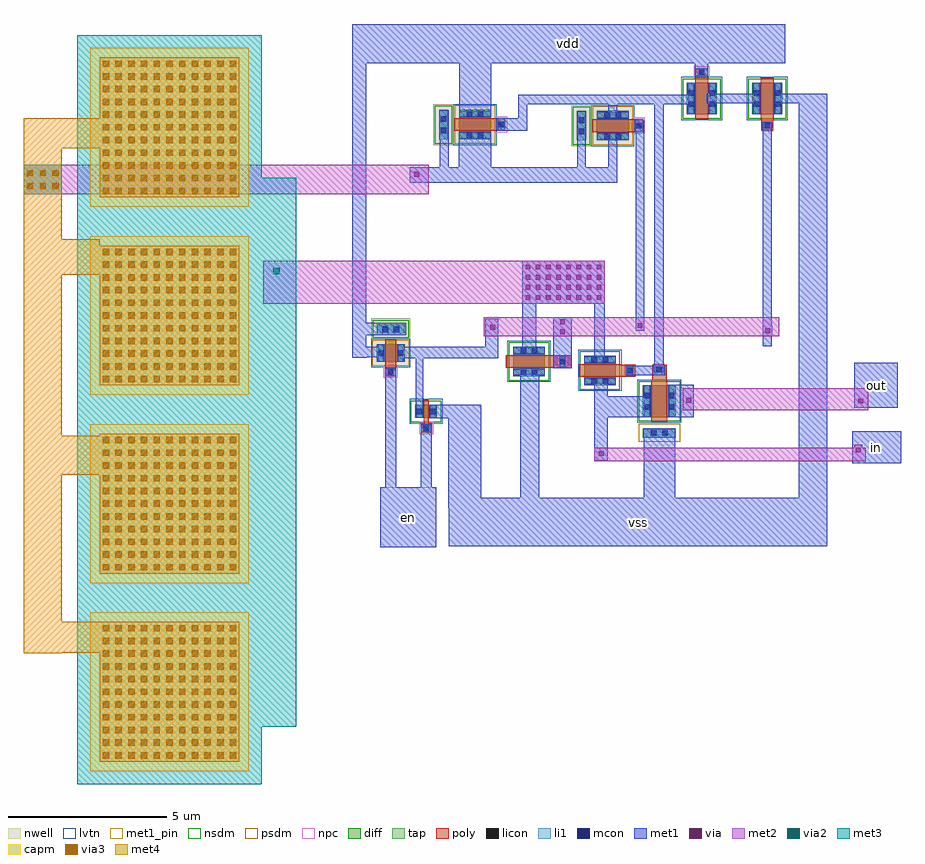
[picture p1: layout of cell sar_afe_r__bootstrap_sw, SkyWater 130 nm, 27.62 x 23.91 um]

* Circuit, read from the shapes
.subckt sar_afe_r__bootstrap_sw en in out vdd vss
XM1 vss en sar_afe_r__nfet_01v8_lvt_CDNS_792464069087_2/D_drain_1 vss sky130_fd_pr__nfet_01v8_lvt w=0.42 l=0.15
XM2 sar_afe_r__nfet_01v8_lvt_CDNS_792464069089_5/D_drain_1 sar_afe_r__nfet_01v8_lvt_CDNS_792464069087_2/D_drain_1 vss vss sky130_fd_pr__nfet_01v8_lvt w=1 l=0.4
XM3 sar_afe_r__nfet_01v8_lvt_CDNS_792464069089_5/D_drain_1 sar_afe_r__pfet_01v8_lvt_CDNS_792464069086_0/D_drain_1 in vss sky130_fd_pr__nfet_01v8_lvt w=1 l=0.4
XM4 out sar_afe_r__pfet_01v8_lvt_CDNS_792464069086_0/D_drain_1 in vss sky130_fd_pr__nfet_01v8_lvt w=1 l=0.5
XM5 sar_afe_r__nfet_01v8_lvt_CDNS_792464069088_3/D_drain_1 vdd sar_afe_r__pfet_01v8_lvt_CDNS_792464069086_0/D_drain_1 vss sky130_fd_pr__nfet_01v8_lvt w=1 l=0.4
XM6 vss sar_afe_r__nfet_01v8_lvt_CDNS_792464069087_2/D_drain_1 sar_afe_r__nfet_01v8_lvt_CDNS_792464069088_3/D_drain_1 vss sky130_fd_pr__nfet_01v8_lvt w=1 l=0.4
XM7 sar_afe_r__nfet_01v8_lvt_CDNS_792464069087_2/D_drain_1 en vdd vdd sky130_fd_pr__pfet_01v8_lvt w=0.55 l=0.35
XM8 vdd sar_afe_r__pfet_01v8_lvt_CDNS_792464069086_0/D_drain_1 sar_afe_r__pfet_01v8_lvt_CDNS_792464069086_0/B sar_afe_r__pfet_01v8_lvt_CDNS_792464069086_0/B sky130_fd_pr__pfet_01v8_lvt w=1 l=0.4
XM9 sar_afe_r__pfet_01v8_lvt_CDNS_792464069086_0/D_drain_1 sar_afe_r__nfet_01v8_lvt_CDNS_792464069087_2/D_drain_1 sar_afe_r__pfet_01v8_lvt_CDNS_792464069086_0/B sar_afe_r__pfet_01v8_lvt_CDNS_792464069086_0/B sky130_fd_pr__pfet_01v8_lvt w=1 l=0.4
XC10 sar_afe_r__pfet_01v8_lvt_CDNS_792464069086_0/B sar_afe_r__nfet_01v8_lvt_CDNS_792464069089_5/D_drain_1 sky130_fd_pr__cap_mim_m3_1 w=5 l=5 m=4
.ends

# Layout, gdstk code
from math import pi, radians
import gdstk
lib = gdstk.Library(unit=1e-6, precision=1e-09)
def R(c, l, rs):  # rectangles x0, y0, x1, y1
    for r in rs: c.add(gdstk.rectangle(r[:2], r[2:], *l))
def A(c, l, x, y, w, h, nx, ny, dx, dy):  # array of equal rectangles
    R(c, l, [(x+i*dx, y+j*dy, x+i*dx+w, y+j*dy+h) for i in range(nx) for j in range(ny)])
nwell = (64, 20)
diff = (65, 20)
tap = (65, 44)
poly = (66, 20)
licon = (66, 44)
li1 = (67, 20)
mcon = (67, 44)
met1_pin = (68, 16)
met1 = (68, 20)
via = (68, 44)
met2 = (69, 20)
via2 = (69, 44)
met3 = (70, 20)
via3 = (70, 44)
met4 = (71, 20)
capm = (89, 44)
nsdm = (93, 44)
psdm = (94, 20)
npc = (95, 20)
lvtn = (125, 44)

sar_afe_r__pfet_01v8_lvt = lib.new_cell('sar_afe_r__pfet_01v8_lvt_CDNS_792464069086')
R(sar_afe_r__pfet_01v8_lvt, nwell, [(-0.445,-0.18,0.845,1.81)])
R(sar_afe_r__pfet_01v8_lvt, diff, [(-0.265,0,0,1), (0,0,0.4,1), (0.4,0,0.665,1)])
R(sar_afe_r__pfet_01v8_lvt, tap, [(-0.265,1.34,0.665,1.63)])
R(sar_afe_r__pfet_01v8_lvt, poly, [(0,-0.46,0.4,-0.19), (0,-0.19,0.4,0), (0,0,0.4,1), (0,1,0.4,1.15)])
R(sar_afe_r__pfet_01v8_lvt, licon, [(0.115,-0.41,0.285,-0.24), (-0.225,0.245,-0.055,0.415), (0.455,0.245,0.625,0.415), (-0.225,0.585,-0.055,0.755), (0.455,0.585,0.625,0.755), (-0.055,1.4,0.115,1.57), (0.285,1.4,0.455,1.57)])
R(sar_afe_r__pfet_01v8_lvt, li1, [(0,-0.44,0.4,-0.21), (-0.225,0,-0.055,1), (0.455,0,0.625,1), (-0.255,1.35,0.655,1.62)])
R(sar_afe_r__pfet_01v8_lvt, mcon, [(0.115,-0.41,0.285,-0.24), (-0.225,0.235,-0.055,0.405), (0.455,0.235,0.625,0.405), (-0.225,0.595,-0.055,0.765), (0.455,0.595,0.625,0.765), (-0.065,1.4,0.105,1.57), (0.295,1.4,0.465,1.57)])
R(sar_afe_r__pfet_01v8_lvt, met1, [(0,-0.46,0.4,-0.19), (-0.255,0,-0.025,1), (0.425,0,0.655,1), (-0.255,1.35,0.655,1.62)])
R(sar_afe_r__pfet_01v8_lvt, nsdm, [(-0.395,1.21,0.795,1.76)])
R(sar_afe_r__pfet_01v8_lvt, psdm, [(-0.405,-0.13,0.805,1.13)])
R(sar_afe_r__pfet_01v8_lvt, npc, [(-0.05,-0.51,0.45,-0.14)])
R(sar_afe_r__pfet_01v8_lvt, lvtn, [(-0.445,-0.18,0.845,1.18)])
sar_afe_r__pfet_01v8_lvt.add(gdstk.Label('B', (0.2,1.485), layer=68, texttype=20))
sar_afe_r__pfet_01v8_lvt.add(gdstk.Label('G_gcb_1', (0.2,-0.325), layer=68, texttype=20))
sar_afe_r__pfet_01v8_lvt.add(gdstk.Label('D_drain_1', (0.54,0.5), layer=68, texttype=20))
sar_afe_r__pfet_01v8_lvt.add(gdstk.Label('S_source_0', (-0.14,0.5), layer=68, texttype=20))
sar_afe_r__pfet_01v8_lvt.add(gdstk.Label('G_gcb_1', (0.2,-0.325), layer=67, texttype=20))
sar_afe_r__pfet_01v8_lvt.add(gdstk.Label('D_drain_1', (0.532,0.5), layer=65, texttype=20))
sar_afe_r__pfet_01v8_lvt.add(gdstk.Label('S_source_0', (-0.132,0.5), layer=65, texttype=20))
sar_afe_r__pfet_01v8_lvt.add(gdstk.Label('B', (0.2,0.815), layer=64, texttype=20))

sar_afe_r__nfet_01v8_lvt = lib.new_cell('sar_afe_r__nfet_01v8_lvt_CDNS_792464069087')
R(sar_afe_r__nfet_01v8_lvt, diff, [(-0.265,0,0,0.42), (0,0,0.15,0.42), (0.15,0,0.415,0.42)])
R(sar_afe_r__nfet_01v8_lvt, poly, [(-0.09,-0.46,0.24,-0.19), (0,-0.19,0.15,0), (0,0,0.15,0.42), (0,0.42,0.15,0.57)])
R(sar_afe_r__nfet_01v8_lvt, licon, [(-0.01,-0.41,0.16,-0.24), (-0.225,0.125,-0.055,0.295), (0.205,0.125,0.375,0.295)])
R(sar_afe_r__nfet_01v8_lvt, li1, [(-0.09,-0.44,0.24,-0.21), (-0.225,0,-0.055,0.42), (0.205,0,0.375,0.42)])
R(sar_afe_r__nfet_01v8_lvt, mcon, [(-0.01,-0.41,0.16,-0.24), (-0.225,0.125,-0.055,0.295), (0.205,0.125,0.375,0.295)])
R(sar_afe_r__nfet_01v8_lvt, met1, [(-0.09,-0.46,0.24,-0.19), (-0.255,0,-0.025,0.42), (0.175,0,0.405,0.42)])
R(sar_afe_r__nfet_01v8_lvt, nsdm, [(-0.405,-0.13,0.555,0.55)])
R(sar_afe_r__nfet_01v8_lvt, npc, [(-0.14,-0.51,0.29,-0.14)])
R(sar_afe_r__nfet_01v8_lvt, lvtn, [(-0.445,-0.18,0.595,0.6)])
sar_afe_r__nfet_01v8_lvt.add(gdstk.Label('G_gcb_1', (0.075,-0.325), layer=68, texttype=20))
sar_afe_r__nfet_01v8_lvt.add(gdstk.Label('D_drain_1', (0.29,0.21), layer=68, texttype=20))
sar_afe_r__nfet_01v8_lvt.add(gdstk.Label('S_source_0', (-0.14,0.21), layer=68, texttype=20))
sar_afe_r__nfet_01v8_lvt.add(gdstk.Label('G_gcb_1', (0.075,-0.325), layer=67, texttype=20))
sar_afe_r__nfet_01v8_lvt.add(gdstk.Label('D_drain_1', (0.282,0.21), layer=65, texttype=20))
sar_afe_r__nfet_01v8_lvt.add(gdstk.Label('S_source_0', (-0.132,0.21), layer=65, texttype=20))

c_sar_afe_r__nfet_01v8_lvt = lib.new_cell('sar_afe_r__nfet_01v8_lvt_CDNS_792464069088')
R(c_sar_afe_r__nfet_01v8_lvt, diff, [(-0.265,0,0,1), (0,0,0.4,1), (0.4,0,0.665,1)])
R(c_sar_afe_r__nfet_01v8_lvt, poly, [(0,-0.15,0.4,0), (0,0,0.4,1), (0,1,0.4,1.19), (0,1.19,0.4,1.46)])
R(c_sar_afe_r__nfet_01v8_lvt, licon, [(-0.225,0.245,-0.055,0.415), (0.455,0.245,0.625,0.415), (-0.225,0.585,-0.055,0.755), (0.455,0.585,0.625,0.755), (0.115,1.24,0.285,1.41)])
R(c_sar_afe_r__nfet_01v8_lvt, li1, [(-0.225,0,-0.055,1), (0.455,0,0.625,1), (0,1.21,0.4,1.44)])
R(c_sar_afe_r__nfet_01v8_lvt, mcon, [(-0.225,0.235,-0.055,0.405), (0.455,0.235,0.625,0.405), (-0.225,0.595,-0.055,0.765), (0.455,0.595,0.625,0.765), (0.115,1.24,0.285,1.41)])
R(c_sar_afe_r__nfet_01v8_lvt, met1, [(-0.255,0,-0.025,1), (0.425,0,0.655,1), (0,1.19,0.4,1.46)])
R(c_sar_afe_r__nfet_01v8_lvt, nsdm, [(-0.405,-0.13,0.805,1.13)])
R(c_sar_afe_r__nfet_01v8_lvt, npc, [(-0.05,1.14,0.45,1.51)])
R(c_sar_afe_r__nfet_01v8_lvt, lvtn, [(-0.445,-0.18,0.845,1.18)])
c_sar_afe_r__nfet_01v8_lvt.add(gdstk.Label('G_gct_1', (0.2,1.325), layer=68, texttype=20))
c_sar_afe_r__nfet_01v8_lvt.add(gdstk.Label('D_drain_1', (0.54,0.5), layer=68, texttype=20))
c_sar_afe_r__nfet_01v8_lvt.add(gdstk.Label('S_source_0', (-0.14,0.5), layer=68, texttype=20))
c_sar_afe_r__nfet_01v8_lvt.add(gdstk.Label('G_gct_1', (0.2,1.325), layer=67, texttype=20))
c_sar_afe_r__nfet_01v8_lvt.add(gdstk.Label('D_drain_1', (0.532,0.5), layer=65, texttype=20))
c_sar_afe_r__nfet_01v8_lvt.add(gdstk.Label('S_source_0', (-0.132,0.5), layer=65, texttype=20))

c_sar_afe_r__nfet_01v8_lvt_ = lib.new_cell('sar_afe_r__nfet_01v8_lvt_CDNS_792464069089')
R(c_sar_afe_r__nfet_01v8_lvt_, diff, [(-0.265,0,0,1), (0,0,0.4,1), (0.4,0,0.665,1)])
R(c_sar_afe_r__nfet_01v8_lvt_, poly, [(0,-0.15,0.4,-0.095), (0,-0.095,0.4,0), (0,0,0.4,1), (0,1,0.4,1.095), (0,1.095,0.4,1.15)])
R(c_sar_afe_r__nfet_01v8_lvt_, licon, [(-0.225,0.245,-0.055,0.415), (0.455,0.245,0.625,0.415), (-0.225,0.585,-0.055,0.755), (0.455,0.585,0.625,0.755)])
R(c_sar_afe_r__nfet_01v8_lvt_, li1, [(-0.225,0,-0.055,1), (0.455,0,0.625,1)])
R(c_sar_afe_r__nfet_01v8_lvt_, mcon, [(-0.225,0.235,-0.055,0.405), (0.455,0.235,0.625,0.405), (-0.225,0.595,-0.055,0.765), (0.455,0.595,0.625,0.765)])
R(c_sar_afe_r__nfet_01v8_lvt_, met1, [(-0.255,0,-0.025,1), (0.425,0,0.655,1)])
R(c_sar_afe_r__nfet_01v8_lvt_, nsdm, [(-0.405,-0.13,0.805,1.13)])
R(c_sar_afe_r__nfet_01v8_lvt_, lvtn, [(-0.445,-0.18,0.845,1.18)])
c_sar_afe_r__nfet_01v8_lvt_.add(gdstk.Label('D_drain_1', (0.54,0.5), layer=68, texttype=20))
c_sar_afe_r__nfet_01v8_lvt_.add(gdstk.Label('S_source_0', (-0.14,0.5), layer=68, texttype=20))
c_sar_afe_r__nfet_01v8_lvt_.add(gdstk.Label('G_gate_1', (0.2,-0.122), layer=66, texttype=20))
c_sar_afe_r__nfet_01v8_lvt_.add(gdstk.Label('G_gate_1', (0.2,1.122), layer=66, texttype=20))
c_sar_afe_r__nfet_01v8_lvt_.add(gdstk.Label('D_drain_1', (0.532,0.5), layer=65, texttype=20))
c_sar_afe_r__nfet_01v8_lvt_.add(gdstk.Label('S_source_0', (-0.132,0.5), layer=65, texttype=20))

sar_afe_r__cap_mim_m3__b = lib.new_cell('sar_afe_r__cap_mim_m3__base_CDNS_7924640690810')
R(sar_afe_r__cap_mim_m3__b, met3, [(-0.4,-0.4,5.4,5.4)])
A(sar_afe_r__cap_mim_m3__b, via3, 0.4, 0.4, 0.2, 0.2, 11, 11, 0.4, 0.4)
R(sar_afe_r__cap_mim_m3__b, met4, [(0.3,0.3,4.7,4.7)])
R(sar_afe_r__cap_mim_m3__b, capm, [(0,0,5,5)])
sar_afe_r__cap_mim_m3__b.add(gdstk.Label('MINUS', (2.5,2.5), layer=70, texttype=20))
sar_afe_r__cap_mim_m3__b.add(gdstk.Label('PLUS', (2.5,2.5), layer=71, texttype=20))

c_sar_afe_r__pfet_01v8_lvt = lib.new_cell('sar_afe_r__pfet_01v8_lvt_CDNS_7924640690811')
R(c_sar_afe_r__pfet_01v8_lvt, nwell, [(-0.445,-0.81,0.795,0.73)])
R(c_sar_afe_r__pfet_01v8_lvt, diff, [(-0.265,0,0,0.55), (0,0,0.35,0.55), (0.35,0,0.615,0.55)])
R(c_sar_afe_r__pfet_01v8_lvt, tap, [(-0.265,-0.63,0.615,-0.34)])
R(c_sar_afe_r__pfet_01v8_lvt, poly, [(0,-0.15,0.35,0), (0,0,0.35,0.55), (0,0.55,0.35,0.74), (0,0.74,0.35,1.01)])
R(c_sar_afe_r__pfet_01v8_lvt, licon, [(-0.08,-0.57,0.09,-0.4), (0.26,-0.57,0.43,-0.4), (-0.225,0.19,-0.055,0.36), (0.405,0.19,0.575,0.36), (0.09,0.79,0.26,0.96)])
R(c_sar_afe_r__pfet_01v8_lvt, li1, [(-0.255,-0.62,0.605,-0.35), (-0.225,0,-0.055,0.55), (0.405,0,0.575,0.55), (0,0.76,0.35,0.99)])
R(c_sar_afe_r__pfet_01v8_lvt, mcon, [(-0.09,-0.57,0.08,-0.4), (0.27,-0.57,0.44,-0.4), (-0.225,0.19,-0.055,0.36), (0.405,0.19,0.575,0.36), (0.09,0.79,0.26,0.96)])
R(c_sar_afe_r__pfet_01v8_lvt, met1, [(-0.255,-0.62,0.605,-0.35), (-0.255,0,-0.025,0.55), (0.375,0,0.605,0.55), (0,0.74,0.35,1.01)])
R(c_sar_afe_r__pfet_01v8_lvt, nsdm, [(-0.395,-0.76,0.745,-0.21)])
R(c_sar_afe_r__pfet_01v8_lvt, psdm, [(-0.405,-0.13,0.755,0.68)])
R(c_sar_afe_r__pfet_01v8_lvt, npc, [(-0.05,0.69,0.4,1.06)])
R(c_sar_afe_r__pfet_01v8_lvt, lvtn, [(-0.445,-0.18,0.795,0.73)])
c_sar_afe_r__pfet_01v8_lvt.add(gdstk.Label('B', (0.175,-0.485), layer=68, texttype=20))
c_sar_afe_r__pfet_01v8_lvt.add(gdstk.Label('G_gct_1', (0.175,0.875), layer=68, texttype=20))
c_sar_afe_r__pfet_01v8_lvt.add(gdstk.Label('D_drain_1', (0.49,0.275), layer=68, texttype=20))
c_sar_afe_r__pfet_01v8_lvt.add(gdstk.Label('S_source_0', (-0.14,0.275), layer=68, texttype=20))
c_sar_afe_r__pfet_01v8_lvt.add(gdstk.Label('G_gct_1', (0.175,0.875), layer=67, texttype=20))
c_sar_afe_r__pfet_01v8_lvt.add(gdstk.Label('D_drain_1', (0.482,0.275), layer=65, texttype=20))
c_sar_afe_r__pfet_01v8_lvt.add(gdstk.Label('S_source_0', (-0.132,0.275), layer=65, texttype=20))
c_sar_afe_r__pfet_01v8_lvt.add(gdstk.Label('B', (0.175,-0.04), layer=64, texttype=20))

c_sar_afe_r__nfet_01v8_lvt__ = lib.new_cell('sar_afe_r__nfet_01v8_lvt_CDNS_7924640690812')
R(c_sar_afe_r__nfet_01v8_lvt__, diff, [(-0.265,0,0,1), (0,0,0.5,1), (0.5,0,0.765,1)])
R(c_sar_afe_r__nfet_01v8_lvt__, tap, [(-0.265,-0.64,0.765,-0.35)])
R(c_sar_afe_r__nfet_01v8_lvt__, poly, [(0,-0.15,0.5,-0.095), (0,-0.095,0.5,0), (0,0,0.5,1), (0,1,0.5,1.095), (0,1.095,0.5,1.15)])
R(c_sar_afe_r__nfet_01v8_lvt__, licon, [(-0.005,-0.58,0.165,-0.41), (0.335,-0.58,0.505,-0.41), (-0.225,0.245,-0.055,0.415), (0.555,0.245,0.725,0.415), (-0.225,0.585,-0.055,0.755), (0.555,0.585,0.725,0.755)])
R(c_sar_afe_r__nfet_01v8_lvt__, li1, [(-0.255,-0.63,0.755,-0.36), (-0.225,0,-0.055,1), (0.555,0,0.725,1)])
R(c_sar_afe_r__nfet_01v8_lvt__, mcon, [(-0.015,-0.58,0.155,-0.41), (0.345,-0.58,0.515,-0.41), (-0.225,0.235,-0.055,0.405), (0.555,0.235,0.725,0.405), (-0.225,0.595,-0.055,0.765), (0.555,0.595,0.725,0.765)])
R(c_sar_afe_r__nfet_01v8_lvt__, met1, [(-0.255,-0.63,0.755,-0.36), (-0.255,0,-0.025,1), (0.525,0,0.755,1)])
R(c_sar_afe_r__nfet_01v8_lvt__, nsdm, [(-0.405,-0.13,0.905,1.13)])
R(c_sar_afe_r__nfet_01v8_lvt__, psdm, [(-0.405,-0.78,0.905,-0.21)])
R(c_sar_afe_r__nfet_01v8_lvt__, lvtn, [(-0.445,-0.18,0.945,1.18)])
c_sar_afe_r__nfet_01v8_lvt__.add(gdstk.Label('B', (0.25,-0.495), layer=68, texttype=20))
c_sar_afe_r__nfet_01v8_lvt__.add(gdstk.Label('D_drain_1', (0.64,0.5), layer=68, texttype=20))
c_sar_afe_r__nfet_01v8_lvt__.add(gdstk.Label('S_source_0', (-0.14,0.5), layer=68, texttype=20))
c_sar_afe_r__nfet_01v8_lvt__.add(gdstk.Label('G_gate_1', (0.25,-0.122), layer=66, texttype=20))
c_sar_afe_r__nfet_01v8_lvt__.add(gdstk.Label('G_gate_1', (0.25,1.122), layer=66, texttype=20))
c_sar_afe_r__nfet_01v8_lvt__.add(gdstk.Label('D_drain_1', (0.632,0.5), layer=65, texttype=20))
c_sar_afe_r__nfet_01v8_lvt__.add(gdstk.Label('S_source_0', (-0.132,0.5), layer=65, texttype=20))

sar_afe_r__m1m2_c_cdns_7 = lib.new_cell('sar_afe_r__M1M2_C_CDNS_792464069080')
R(sar_afe_r__m1m2_c_cdns_7, met1, [(-0.13,-0.16,0.13,0.16)])
R(sar_afe_r__m1m2_c_cdns_7, via, [(-0.075,-0.075,0.075,0.075)])
R(sar_afe_r__m1m2_c_cdns_7, met2, [(-0.13,-0.16,0.13,0.16)])

sar_afe_r__m2m3_c_cdns_7 = lib.new_cell('sar_afe_r__M2M3_C_CDNS_792464069081')
R(sar_afe_r__m2m3_c_cdns_7, met2, [(-0.14,-0.185,0.14,0.185)])
R(sar_afe_r__m2m3_c_cdns_7, via2, [(-0.1,-0.1,0.1,0.1)])
R(sar_afe_r__m2m3_c_cdns_7, met3, [(-0.165,-0.165,0.165,0.165)])

sar_afe_r__m3m4_c_cdns_7 = lib.new_cell('sar_afe_r__M3M4_C_CDNS_7924640690837')
R(sar_afe_r__m3m4_c_cdns_7, met3, [(-0.6,-0.45,0.6,0.46)])
A(sar_afe_r__m3m4_c_cdns_7, via3, -0.5, -0.3, 0.2, 0.2, 3, 2, 0.4, 0.4)
R(sar_afe_r__m3m4_c_cdns_7, met4, [(-0.6,-0.45,0.6,0.46)])

c_sar_afe_r__m2m3_c_cdns_7 = lib.new_cell('sar_afe_r__M2M3_C_CDNS_7924640690838')
R(c_sar_afe_r__m2m3_c_cdns_7, met2, [(-0.6,-0.45,0.6,0.46)])
A(c_sar_afe_r__m2m3_c_cdns_7, via2, -0.5, -0.3, 0.2, 0.2, 3, 2, 0.4, 0.4)
R(c_sar_afe_r__m2m3_c_cdns_7, met3, [(-0.6,-0.45,0.6,0.46)])

c_sar_afe_r__m1m2_c_cdns_7 = lib.new_cell('sar_afe_r__M1M2_C_CDNS_7924640690839')
R(c_sar_afe_r__m1m2_c_cdns_7, met1, [(-1.295,-0.67,1.295,0.67)])
A(c_sar_afe_r__m1m2_c_cdns_7, via, -1.195, -0.555, 0.15, 0.15, 8, 4, 0.32, 0.32)
R(c_sar_afe_r__m1m2_c_cdns_7, met2, [(-1.295,-0.67,1.295,0.67)])

sar_afe_r__polyconn_cdns = lib.new_cell('sar_afe_r__polyConn_CDNS_792464069084')
R(sar_afe_r__polyconn_cdns, poly, [(-0.135,-0.165,0.135,0.165)])
R(sar_afe_r__polyconn_cdns, licon, [(-0.085,-0.085,0.085,0.085)])
R(sar_afe_r__polyconn_cdns, li1, [(-0.085,-0.165,0.085,0.165)])
R(sar_afe_r__polyconn_cdns, mcon, [(-0.085,-0.085,0.085,0.085)])
R(sar_afe_r__polyconn_cdns, met1, [(-0.115,-0.145,0.115,0.145)])
R(sar_afe_r__polyconn_cdns, npc, [(-0.185,-0.185,0.185,0.185)])

c_sar_afe_r__m1m2_c_cdns_7_ = lib.new_cell('sar_afe_r__M1M2_C_CDNS_7924640690840')
R(c_sar_afe_r__m1m2_c_cdns_7_, met1, [(-0.285,-0.29,0.285,0.3)])
R(c_sar_afe_r__m1m2_c_cdns_7_, via, [(-0.075,-0.235,0.075,-0.085), (-0.075,0.085,0.075,0.235)])
R(c_sar_afe_r__m1m2_c_cdns_7_, met2, [(-0.285,-0.29,0.285,0.3)])

c_sar_afe_r__polyconn_cdns = lib.new_cell('sar_afe_r__polyConn_CDNS_792464069085')
R(c_sar_afe_r__polyconn_cdns, poly, [(-0.285,-0.205,0.285,0.205)])
R(c_sar_afe_r__polyconn_cdns, licon, [(-0.085,-0.085,0.085,0.085)])
R(c_sar_afe_r__polyconn_cdns, li1, [(-0.085,-0.165,0.085,0.165)])
R(c_sar_afe_r__polyconn_cdns, mcon, [(-0.085,-0.085,0.085,0.085)])
R(c_sar_afe_r__polyconn_cdns, met1, [(-0.285,-0.205,0.285,0.205)])
R(c_sar_afe_r__polyconn_cdns, npc, [(-0.185,-0.185,0.185,0.185)])

sar_afe_r__pyl1con_c_cdn = lib.new_cell('sar_afe_r__PYL1CON_C_CDNS_7924640690841')
R(sar_afe_r__pyl1con_c_cdn, poly, [(-0.075,-0.085,0.095,0.085)])
R(sar_afe_r__pyl1con_c_cdn, licon, [(-0.025,-0.085,0.045,0.085)])
R(sar_afe_r__pyl1con_c_cdn, npc, [(-0.125,-0.135,0.145,0.135)])

sar_afe_r__bootstrap_sw = lib.new_cell('sar_afe_r__bootstrap_sw')
R(sar_afe_r__bootstrap_sw, poly, [(19.83,12.685,20.295,13.31), (18.71,12.93,19.305,13.31), (15.235,13.21,17.3,13.61), (23.27,20.685,23.65,21.385)])
R(sar_afe_r__bootstrap_sw, met1_pin, [(11.275,7.565,13.035,9.45)])
R(sar_afe_r__bootstrap_sw, met1, [(11.275,7.565,13.035,9.45), (13.43,7.595,25.35,9.12), (19.565,8.6,20.565,11.295), (24.44,8.715,25.34,21.825), (15.68,8.76,16.28,13.2), (13.425,8.8,14.45,12.03), (11.435,9.05,11.785,13.21), (12.56,9.125,12.905,11.44), (26.13,10.2,27.675,11.22), (18.015,10.285,18.435,12.845), (12.83,11.625,14.455,12.045), (12.39,11.63,12.625,13.86), (18.015,11.655,19.78,12.315), (20.335,11.655,21.145,12.67), (26.19,11.955,27.565,13.375), (19.01,12.975,20.245,13.28), (19.905,12.98,20.2,21.8), (16.73,13.195,17.3,14.8), (18.005,13.4,18.34,15.685), (11.83,13.51,15,13.87), (10.405,13.53,10.84,24.025), (10.415,13.535,11.385,13.87), (14.58,13.55,14.995,14.75), (15.75,13.645,16.185,15.49), (23.31,13.88,23.6,20.95), (10.415,14.23,12.1,14.62), (19.32,14.37,19.58,20.985), (15.75,15.225,18.34,16.57), (12.205,19.03,18.73,19.515), (13.745,19.09,14.77,20.625), (13.145,19.16,13.435,21.31), (17.475,19.205,17.74,21.285), (18.45,19.285,18.74,20.6), (14.935,20.665,15.905,21.06), (15.62,20.68,15.91,21.805), (18.45,21.05,18.74,21.8), (13.76,21.105,14.765,23), (15.715,21.505,21.095,21.8), (21.545,21.535,23.23,21.825), (23.68,21.535,25.34,21.825), (21.18,22.355,21.605,23.12), (10.4,22.785,24.015,24.025)])
R(sar_afe_r__bootstrap_sw, met2, [(18.005,10.27,26.555,10.69), (20.795,11.87,26.635,12.565), (14.535,14.205,23.835,14.8), (7.595,15.23,18.34,16.57), (0.065,18.675,12.81,19.59)])
R(sar_afe_r__bootstrap_sw, met3, [(7.42,1.91,8.63,19.195), (1.75,5.465,7.445,6.855), (1.75,11.67,7.565,12.085), (1.75,17.07,7.475,18.67), (0.06,18.675,1.26,19.59), (0.06,18.675,1.26,19.59)])
R(sar_afe_r__bootstrap_sw, met4, [(0.06,4.225,1.26,21.065), (0.725,4.24,2.465,5.225), (0.76,9.85,2.48,11.075), (0.505,16.14,2.46,17.255), (0.06,20.12,2.525,21.065)])
sar_afe_r__bootstrap_sw.add(gdstk.Reference(sar_afe_r__pfet_01v8_lvt, (19.095,20.625), rotation=pi/2))
sar_afe_r__bootstrap_sw.add(gdstk.Reference(sar_afe_r__pfet_01v8_lvt, (14.76,20.66), rotation=pi/2))
sar_afe_r__bootstrap_sw.add(gdstk.Reference(sar_afe_r__nfet_01v8_lvt, (12.8,11.63), rotation=pi, x_reflection=True))
sar_afe_r__bootstrap_sw.add(gdstk.Reference(c_sar_afe_r__nfet_01v8_lvt, (21.195,21.18)))
sar_afe_r__bootstrap_sw.add(gdstk.Reference(c_sar_afe_r__nfet_01v8_lvt_, (23.255,21.18)))
sar_afe_r__bootstrap_sw.add(gdstk.Reference(c_sar_afe_r__nfet_01v8_lvt_, (18.69,12.925), rotation=pi/2))
sar_afe_r__bootstrap_sw.add(gdstk.Reference(c_sar_afe_r__nfet_01v8_lvt_, (16.46,13.21), rotation=pi/2))
sar_afe_r__bootstrap_sw.add(gdstk.Reference(sar_afe_r__cap_mim_m3__b, (7.15,18.275), rotation=pi/2))
sar_afe_r__bootstrap_sw.add(gdstk.Reference(sar_afe_r__cap_mim_m3__b, (7.15,0.515), rotation=pi/2))
sar_afe_r__bootstrap_sw.add(gdstk.Reference(sar_afe_r__cap_mim_m3__b, (7.15,12.355), rotation=pi/2))
sar_afe_r__bootstrap_sw.add(gdstk.Reference(sar_afe_r__cap_mim_m3__b, (7.15,6.435), rotation=pi/2))
sar_afe_r__bootstrap_sw.add(gdstk.Reference(c_sar_afe_r__pfet_01v8_lvt, (11.435,13.95), x_reflection=True))
sar_afe_r__bootstrap_sw.add(gdstk.Reference(c_sar_afe_r__nfet_01v8_lvt__, (19.81,11.655)))
sar_afe_r__bootstrap_sw.add(gdstk.Reference(sar_afe_r__m1m2_c_cdns_7, (18.23,10.51)))
sar_afe_r__bootstrap_sw.add(gdstk.Reference(sar_afe_r__m1m2_c_cdns_7, (26.315,10.625)))
sar_afe_r__bootstrap_sw.add(gdstk.Reference(sar_afe_r__m1m2_c_cdns_7, (26.4,12.165)))
sar_afe_r__bootstrap_sw.add(gdstk.Reference(sar_afe_r__m1m2_c_cdns_7, (20.985,12.185)))
sar_afe_r__bootstrap_sw.add(gdstk.Reference(sar_afe_r__m1m2_c_cdns_7, (23.475,14.375)))
sar_afe_r__bootstrap_sw.add(gdstk.Reference(sar_afe_r__m1m2_c_cdns_7, (19.45,14.54)))
sar_afe_r__bootstrap_sw.add(gdstk.Reference(sar_afe_r__m1m2_c_cdns_7, (14.82,14.485)))
sar_afe_r__bootstrap_sw.add(gdstk.Reference(sar_afe_r__m1m2_c_cdns_7, (12.43,19.295)))
sar_afe_r__bootstrap_sw.add(gdstk.Reference(sar_afe_r__m2m3_c_cdns_7, (8.02,16.255)))
sar_afe_r__bootstrap_sw.add(gdstk.Reference(sar_afe_r__m3m4_c_cdns_7, (0.66,19.13)))
sar_afe_r__bootstrap_sw.add(gdstk.Reference(c_sar_afe_r__m2m3_c_cdns_7, (0.66,19.13)))
sar_afe_r__bootstrap_sw.add(gdstk.Reference(c_sar_afe_r__m1m2_c_cdns_7, (17.045,15.9)))
sar_afe_r__bootstrap_sw.add(gdstk.Reference(sar_afe_r__polyconn_cdns, (23.455,20.835), rotation=pi/2))
sar_afe_r__bootstrap_sw.add(gdstk.Reference(sar_afe_r__polyconn_cdns, (20.05,13.155), rotation=pi/2))
sar_afe_r__bootstrap_sw.add(gdstk.Reference(sar_afe_r__polyconn_cdns, (19.14,13.13)))
sar_afe_r__bootstrap_sw.add(gdstk.Reference(c_sar_afe_r__m1m2_c_cdns_7_, (17.015,14.5)))
sar_afe_r__bootstrap_sw.add(gdstk.Reference(c_sar_afe_r__polyconn_cdns, (17.015,13.4)))
sar_afe_r__bootstrap_sw.add(gdstk.Reference(sar_afe_r__pyl1con_c_cdn, (17.01,13.4)))
sar_afe_r__bootstrap_sw.add(gdstk.Label('en', (12.155,8.507), layer=68, texttype=20))
sar_afe_r__bootstrap_sw.add(gdstk.Label('vdd', (17.207,23.405), layer=68, texttype=20))
sar_afe_r__bootstrap_sw.add(gdstk.Label('vss', (19.39,8.357), layer=68, texttype=20))
sar_afe_r__bootstrap_sw.add(gdstk.Label('out', (26.877,12.665), layer=68, texttype=20))
sar_afe_r__bootstrap_sw.add(gdstk.Label('in', (26.902,10.71), layer=68, texttype=20))
sar_afe_r__bootstrap_sw.add(gdstk.Label('en', (12.155,8.507), layer=68, texttype=16))
sar_afe_r__bootstrap_sw.add(gdstk.Label('in', (27.01,10.705), layer=68, texttype=5))
sar_afe_r__bootstrap_sw.add(gdstk.Label('en', (12.155,8.507), layer=68, texttype=5))
sar_afe_r__bootstrap_sw.add(gdstk.Label('out', (26.89,12.8), layer=68, texttype=5))
sar_afe_r__bootstrap_sw.add(gdstk.Label('vss', (19.42,8.47), layer=68, texttype=5))
sar_afe_r__bootstrap_sw.add(gdstk.Label('vdd', (17.155,23.44), layer=68, texttype=5))

lib.write_gds('sar_afe_r__bootstrap_sw.gds')
